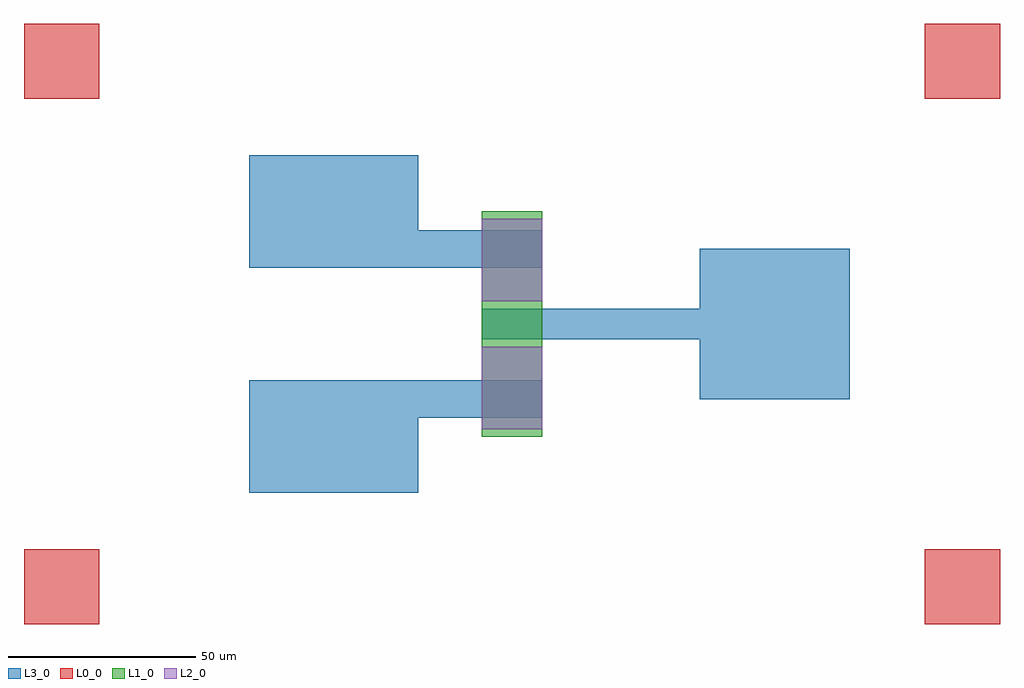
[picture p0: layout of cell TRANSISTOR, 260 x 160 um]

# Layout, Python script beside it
import os  # used to build output paths relative to this script's folder
import gdstk as gd  # gdstk is the CAD library we use to generate GDSII layout files
import numpy as np  # kept for style parity with inline6_chip (handy for tolerances/math)

# Folder where this script lives -> we save all outputs into Ebeam_training,
# no matter which directory the script is run from.
OUT_DIR = os.path.dirname(os.path.abspath(__file__))

# ----------------------------------------------------------------------------- #
# Layer map (per the LayoutEditor tutorial assignment).
# In e-beam CAD, a LAYER represents one processing step / one mask plate.
#   LAYER 0 -> alignment marks
#   LAYER 1 -> silicon isolation mesa (the active island)
#   LAYER 2 -> implant dopants (source & drain doped regions)
#   LAYER 3 -> metal (source, drain, and gate contacts)
# ----------------------------------------------------------------------------- #
LAYER_ALIGN  = 0  # alignment marks live here
LAYER_MESA   = 1  # silicon isolation mesa
LAYER_DOPANT = 2  # implant dopants
LAYER_METAL  = 3  # source/drain/gate metal


def main():
    # The GDSII file is called a library, which contains the cell(s) of our design.
    lib = gd.Library()

    # Everything for this device lives in ONE cell. The top-level cell should
    # look just like the final device, so the alignment marks (LAYER 0) and the
    # transistor (LAYERS 1-3) all go into this single cell on their own layers.
    chip = lib.new_cell("TRANSISTOR")

    # ===================================================================== #
    # LAYER 0: alignment marks
    # Requirement (3): 20 um squares, in the corners.
    # Requirement (4): each mark's center must be a multiple of 10 um.
    # We center each 20 um square on a corner coordinate that is a multiple
    # of 10, so the square spans center +/- 10 um.
    # ===================================================================== #
    half = 20 / 2.0  # half the 20 um side -> the square reaches +/-10 um from its center
    mark_centers = [(-120, -70), (-120, 70), (120, -70), (120, 70)]  # all multiples of 10
    for cx, cy in mark_centers:
        # Build each square from its two opposite corners, centered on (cx, cy).
        mark = gd.rectangle((cx - half) + (cy - half) * 1j,
                            (cx + half) + (cy + half) * 1j,
                            layer=LAYER_ALIGN)
        chip.add(mark)

    # ===================================================================== #
    # LAYER 1: silicon isolation mesa
    # The mesa is the active silicon island (the vertical bar in the figure).
    # Source above, drain below, channel in the middle -- all sit on this mesa.
    # ===================================================================== #
    mesa = gd.rectangle(-8 - 30j, 8 + 30j, layer=LAYER_MESA)  # vertical bar, x:-8..8, y:-30..30
    chip.add(mesa)

    # ===================================================================== #
    # LAYER 2: implant dopants (two stacked squares, like the figure)
    # Requirement (1): dopants go UP TO the gate but NOT under it.
    # Requirement (2): dopants go UNDER the source and drain contacts.
    # The gate will cross the channel band y = -4..+4, so we keep the dopants
    # out of that band (leaving an intrinsic channel under the gate).
    # ===================================================================== #
    # Source dopant region (top of the mesa): from above the gate band up to the
    # mesa top, so the source contact finger lands on doped silicon.
    source_dopant = gd.rectangle(-8 + 6j, 8 + 28j, layer=LAYER_DOPANT)
    chip.add(source_dopant)

    # Drain dopant region (bottom of the mesa): mirror image below the gate band.
    drain_dopant = gd.rectangle(-8 - 28j, 8 - 6j, layer=LAYER_DOPANT)
    chip.add(drain_dopant)

    # ===================================================================== #
    # LAYER 3: metal (source, drain, gate)
    # Two big pads on the LEFT (source on top, drain on bottom), each with a
    # finger reaching in to contact its dopant square. The gate is a stripe
    # crossing the channel, wired out to its own pad on the RIGHT.
    # ===================================================================== #
    # Each metal piece is drawn as a SINGLE polygon (pad + finger/wire in one
    # closed outline) rather than as overlapping rectangles. Vertices are listed
    # as (x, y) pairs that trace the outline of the shape.

    # --- Source: L-shaped polygon = big bond pad (top-left) + finger to top dopant ---
    source_metal = gd.Polygon(
        [
            (-70, 15),  # bottom-left corner of the pad
            (8, 15),    # follow the bottom edge right, out to the finger tip
            (8, 25),    # up the right edge of the finger
            (-25, 25),  # back left to where the finger meets the pad
            (-25, 45),  # up the right edge of the pad
            (-70, 45),  # across the top of the pad
        ],
        layer=LAYER_METAL,
    )
    chip.add(source_metal)

    # --- Drain: L-shaped polygon (mirror of source) = pad (bottom-left) + finger ---
    drain_metal = gd.Polygon(
        [
            (-70, -15),  # top-left corner of the pad
            (8, -15),    # along the top edge right, out to the finger tip
            (8, -25),    # down the right edge of the finger
            (-25, -25),  # back left to where the finger meets the pad
            (-25, -45),  # down the right edge of the pad
            (-70, -45),  # across the bottom of the pad
        ],
        layer=LAYER_METAL,
    )
    chip.add(drain_metal)

    # --- Gate: single polygon = stripe across channel + wire + bond pad (right) ---
    gate_metal = gd.Polygon(
        [
            (-8, -4),   # bottom-left of the stripe (over the channel)
            (50, -4),   # bottom edge of stripe+wire running right to the pad
            (50, -20),  # down the left edge of the gate pad
            (90, -20),  # across the bottom of the gate pad
            (90, 20),   # up the right edge of the gate pad
            (50, 20),   # across the top of the gate pad, back to the wire
            (50, 4),    # down to the top edge of the wire
            (-8, 4),    # top edge of stripe+wire running back left
        ],
        layer=LAYER_METAL,
    )
    chip.add(gate_metal)

    # --- Write outputs into the Ebeam_training folder (same formats as inline6_chip) --- #
    lib.write_gds(os.path.join(OUT_DIR, "transistor.gds"))  # GDSII, preferred format for e-beam
    lib.write_oas(os.path.join(OUT_DIR, "transistor.oas"))  # OASIS, an alternative binary format

    # Optionally, save an image of the cell as SVG for a quick visual check.
    chip.write_svg(os.path.join(OUT_DIR, "transistor.svg"))


if __name__ == "__main__":
    main()
